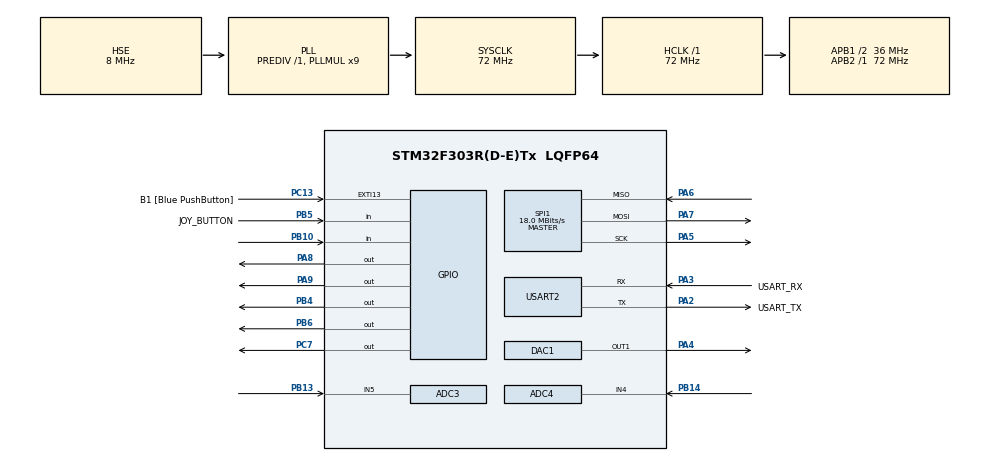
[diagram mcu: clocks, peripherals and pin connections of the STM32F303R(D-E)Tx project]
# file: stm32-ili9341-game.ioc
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ADC3.Channel-3\#ChannelRegularConversion=ADC_CHANNEL_5
ADC3.NbrOfConversionFlag=1
ADC3.Offset-3\#ChannelRegularConversion=0
ADC3.OffsetNumber-3\#ChannelRegularConversion=ADC_OFFSET_NONE
ADC3.Rank-3\#ChannelRegularConversion=1
ADC3.Resolution=ADC_RESOLUTION_6B
ADC3.SamplingTime-3\#ChannelRegularConversion=ADC_SAMPLETIME_1CYCLE_5
ADC3.SamplingTimeOPAMP-3\#ChannelRegularConversion=ADC_SAMPLETIME_61CYCLES_5
ADC3.master=1
ADC4.Channel-1\#ChannelRegularConversion=ADC_CHANNEL_4
ADC4.NbrOfConversionFlag=1
ADC4.Offset-1\#ChannelRegularConversion=0
ADC4.OffsetNumber-1\#ChannelRegularConversion=ADC_OFFSET_NONE
ADC4.Rank-1\#ChannelRegularConversion=1
ADC4.Resolution=ADC_RESOLUTION_6B
ADC4.SamplingTime-1\#ChannelRegularConversion=ADC_SAMPLETIME_1CYCLE_5
ADC4.SamplingTimeOPAMP-1\#ChannelRegularConversion=ADC_SAMPLETIME_61CYCLES_5
DAC1.DAC_OutputBuffer=DAC_OUTPUTBUFFER_ENABLE
DAC1.DAC_Trigger=DAC_TRIGGER_NONE
Dma.DAC1_CH1.1.Direction=DMA_MEMORY_TO_PERIPH
Dma.DAC1_CH1.1.Instance=DMA2_Channel3
Dma.DAC1_CH1.1.MemDataAlignment=DMA_MDATAALIGN_HALFWORD
Dma.DAC1_CH1.1.MemInc=DMA_MINC_ENABLE
Dma.DAC1_CH1.1.Mode=DMA_NORMAL
Dma.DAC1_CH1.1.PeriphDataAlignment=DMA_PDATAALIGN_HALFWORD
Dma.DAC1_CH1.1.PeriphInc=DMA_PINC_DISABLE
Dma.DAC1_CH1.1.Priority=DMA_PRIORITY_HIGH
Dma.Request0=SPI1_TX
Dma.Request1=DAC1_CH1
Dma.SPI1_TX.0.Direction=DMA_MEMORY_TO_PERIPH
Dma.SPI1_TX.0.Instance=DMA1_Channel3
Dma.SPI1_TX.0.MemDataAlignment=DMA_MDATAALIGN_BYTE
Dma.SPI1_TX.0.MemInc=DMA_MINC_ENABLE
Dma.SPI1_TX.0.Mode=DMA_NORMAL
Dma.SPI1_TX.0.PeriphDataAlignment=DMA_PDATAALIGN_BYTE
Dma.SPI1_TX.0.PeriphInc=DMA_PINC_DISABLE
Dma.SPI1_TX.0.Priority=DMA_PRIORITY_LOW
Mcu.Family=STM32F3
Mcu.Name=STM32F303R(D-E)Tx
Mcu.Package=LQFP64
NVIC.DMA1_Channel3_IRQn=true\:1\:0\:true\:false\:true\:false\:true\:true
NVIC.DMA2_Channel3_IRQn=true\:0\:0\:false\:false\:true\:false\:true\:true
NVIC.EXTI15_10_IRQn=true\:1\:1\:true\:false\:true\:true\:true\:true
NVIC.PriorityGroup=NVIC_PRIORITYGROUP_2
NVIC.SPI1_IRQn=true\:1\:1\:true\:false\:true\:true\:true\:true
NVIC.TIM6_DAC_IRQn=true\:3\:0\:true\:false\:true\:true\:true\:true
NVIC.TIM7_IRQn=true\:0\:0\:false\:false\:true\:true\:true\:true
PA13.GPIO_Label=TMS
PA13.Mode=Serial_Wire
PA13.Signal=SYS_JTMS-SWDIO
PA14.GPIO_Label=TCK
PA14.Mode=Serial_Wire
PA14.Signal=SYS_JTCK-SWCLK
PA2.GPIO_Label=USART_TX
PA2.GPIO_Mode=GPIO_MODE_AF_PP
PA2.GPIO_PuPd=GPIO_NOPULL
PA2.GPIO_Speed=GPIO_SPEED_FREQ_LOW
PA2.Mode=Asynchronous
PA2.Signal=USART2_TX
PA3.GPIO_Label=USART_RX
PA3.GPIO_Mode=GPIO_MODE_AF_PP
PA3.GPIO_PuPd=GPIO_NOPULL
PA3.GPIO_Speed=GPIO_SPEED_FREQ_LOW
PA3.Mode=Asynchronous
PA3.Signal=USART2_RX
PA4.Signal=COMP_DAC11_group
PA5.Mode=Full_Duplex_Master
PA5.Signal=SPI1_SCK
PA6.Mode=Full_Duplex_Master
PA6.Signal=SPI1_MISO
PA7.Mode=Full_Duplex_Master
PA7.Signal=SPI1_MOSI
PA8.GPIO_Speed=GPIO_SPEED_FREQ_HIGH
PA8.Signal=GPIO_Output
PA9.GPIO_Speed=GPIO_SPEED_FREQ_HIGH
PA9.Signal=GPIO_Output
PB10.Signal=GPIO_Input
PB13.Mode=IN5-Single-Ended
PB13.Signal=ADC3_IN5
PB14.Mode=IN4-Single-Ended
PB14.Signal=ADC4_IN4
PB3.GPIO_Label=SWO
PB3.Signal=SYS_JTDO-TRACESWO
PB4.Signal=GPIO_Output
PB5.GPIO_Label=JOY_BUTTON
PB5.GPIO_PuPd=GPIO_PULLUP
PB5.Signal=GPIO_Input
PB6.GPIO_Speed=GPIO_SPEED_FREQ_HIGH
PB6.Signal=GPIO_Output
PC13.GPIO_Label=B1 [Blue PushButton]
PC13.GPIO_ModeDefaultEXTI=GPIO_MODE_IT_FALLING
PC13.Signal=GPXTI13
PC14-OSC32_IN.Mode=LSE-External-Oscillator
PC14-OSC32_IN.Signal=RCC_OSC32_IN
PC15-OSC32_OUT.Mode=LSE-External-Oscillator
PC15-OSC32_OUT.Signal=RCC_OSC32_OUT
PC7.GPIO_Speed=GPIO_SPEED_FREQ_HIGH
PC7.Signal=GPIO_Output
PF0-OSC_IN.Mode=HSE-External-Clock-Source
PF0-OSC_IN.Signal=RCC_OSC_IN
PF1-OSC_OUT.Signal=RCC_OSC_OUT
ProjectManager.HeapSize=0x200
ProjectManager.StackSize=0x400
ProjectManager.TargetToolchain=STM32CubeIDE
RCC.AHBFreq_Value=72000000
RCC.APB1CLKDivider=RCC_HCLK_DIV2
RCC.APB1Freq_Value=36000000
RCC.APB1TimFreq_Value=72000000
RCC.APB2Freq_Value=72000000
RCC.APB2TimFreq_Value=72000000
RCC.CortexFreq_Value=72000000
RCC.HCLKFreq_Value=72000000
RCC.HSE_VALUE=8000000
RCC.HSI_VALUE=8000000
RCC.PLLM=8
RCC.PLLMUL=RCC_PLL_MUL9
RCC.PLLN=336
RCC.PLLP=RCC_PLLP_DIV4
RCC.PLLQ=7
RCC.PLLSourceVirtual=RCC_PLLSOURCE_HSE
RCC.RCC_PLLsource_Clock_Source_FROM_HSE=RCC_HSE_PREDIV_DIV2
RCC.SYSCLKFreq_VALUE=72000000
RCC.SYSCLKSourceVirtual=RCC_SYSCLKSOURCE_PLLCLK
RCC.USBFreq_Value=72000000
SH.COMP_DAC11_group.0=DAC1_OUT1,DAC_OUT1
SPI1.BaudRatePrescaler=SPI_BAUDRATEPRESCALER_4
SPI1.CalculateBaudRate=18.0 MBits/s
SPI1.DataSize=SPI_DATASIZE_8BIT
SPI1.Direction=SPI_DIRECTION_2LINES
SPI1.Mode=SPI_MODE_MASTER
SPI1.NSSPMode=SPI_NSS_PULSE_DISABLE
SPI1.VirtualType=VM_MASTER
TIM6.Period=79
TIM6.Prescaler=35999
TIM6.TIM_MasterOutputTrigger=TIM_TRGO_UPDATE
TIM7.Period=124
TIM7.Prescaler=71
TIM7.TIM_MasterOutputTrigger=TIM_TRGO_UPDATE
USART2.VirtualMode-Asynchronous=VM_ASYNC
VP_TIM6_VS_ClockSourceINT.Mode=Enable_Timer
VP_TIM7_VS_ClockSourceINT.Mode=Enable_Timer
board=NUCLEO-F303RE

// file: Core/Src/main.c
/* USER CODE BEGIN Header */
/**
  ******************************************************************************
  * @file           : main.c
  * @brief          : Main program body
  ******************************************************************************
  * @attention
  *
  * Copyright (c) 2025 STMicroelectronics.
  * All rights reserved.
  *
  * This software is licensed under terms that can be found in the LICENSE file
  * in the root directory of this software component.
  * If no LICENSE file comes with this software, it is provided AS-IS.
  *
  ******************************************************************************
  */
/* USER CODE END Header */
#include "main.h"

/* USER CODE BEGIN Includes */

#include <stdlib.h>
#include <stdio.h>
#include <stdarg.h>
#include <string.h>
#include "boing.h"
#include "ili9341_gfx.h"
#include "ili9341.h"

#include "bitmaps.h"
#include "sound.h"

/* USER CODE END Includes */

/* USER CODE BEGIN PD */

#define MAX_OBJECTS 32

/* USER CODE END PD */

ADC_HandleTypeDef hadc3;
ADC_HandleTypeDef hadc4;

DAC_HandleTypeDef hdac1;
DMA_HandleTypeDef hdma_dac1_ch1;

SPI_HandleTypeDef hspi1;
DMA_HandleTypeDef hdma_spi1_tx;

TIM_HandleTypeDef htim6;
TIM_HandleTypeDef htim7;

UART_HandleTypeDef huart2;

/* USER CODE BEGIN PV */
ili9341_t *lcd;
/* USER CODE END PV */

void SystemClock_Config(void);
static void MX_GPIO_Init(void);
static void MX_DMA_Init(void);
static void MX_USART2_UART_Init(void);
static void MX_SPI1_Init(void);
static void MX_TIM6_Init(void);
static void MX_TIM7_Init(void);
static void MX_DAC1_Init(void);
static void MX_ADC3_Init(void);
static void MX_ADC4_Init(void);

/* USER CODE BEGIN 0 */

enum ObjectType {
		typePlayer, typeEnemy, typeCirclingEnemy, typeShootingEnemy,
		typeBullet, typeEnemyBullet, typeHeart, typeParticle, typeTest
};

enum GameState
{
	gsSplashScreen, gsWait, gsPlaying, gsGameOver
};

struct Object {
	int16_t x;
	int16_t y;
	int16_t w;
	int16_t h;
	int16_t old_x;
	int16_t old_y;
	int8_t vx;
	int8_t vy;
	int8_t alive;
	int8_t state;
	enum ObjectType type;
};

enum GameState gameState;

const int8_t enemySpeeds[8] = {
		-2, -1, 0, 0, 1, 2, 0, 0
};

const int8_t enemyCircleSpeeds[25] = {
		0, 0,
		1, 1, 1,
		2, 2, 2,
		3, 3, 3, 3, 3, 3, 3, 3, 3, 3,
		2, 2, 2,
		1, 1, 1,
		0,
};

const int8_t enemyCircleSpeedsY[50] = {
		3, 3, 3, 3, 3,
		2, 2, 2, 2,
		1, 1, 1,
		0, 0,
		-1, -1, -1,
		-2, -2, -2, -2,
		-3, -3, -3, -3, -3, -3, -3, -3, -3,
		-2, -2, -2, -2,
		-1, -1, -1,
		0, 0,
		1, 1, 1,
		2, 2, 2, 2,
		3, 3, 3, 3,
};

uint16_t touch_x = 0;
uint16_t touch_y = 0;
int8_t test_var = 0;
unsigned int score = 0;
unsigned int highscore = 0;
uint16_t difficulty = 0;
uint8_t pause = 0;
uint16_t gameOver = 0;
int8_t score_upd_flag = 0;
int8_t life_upd_flag = 0;

uint32_t nLehmer = 0;

ili9341_color_t color_bg = 0x0000;
ili9341_color_t color_bg_score = 0x0000;

struct Object *player = {0};

int8_t playerLife = 0;
const int8_t playerLifeMax = 3;
int8_t playerInvul = 0;
uint8_t wait = 0;

uint8_t shootingEnemyPresent = 0;

struct Object objects[MAX_OBJECTS] = {0};
int objectCount;

unsigned int frameCounter;

uint32_t joystick[2];

void UART_Printf(const char* fmt, ...);
void HAL_TIM_PeriodElapsedCallback(TIM_HandleTypeDef *htim);
void HAL_GPIO_EXTI_Callback(uint16_t GPIO_Pin);
uint32_t RandLehmer();
struct Object *CreateObject(int16_t x, int16_t y, int16_t w, int16_t h, int8_t vx, int8_t vy, enum ObjectType type);
void DeleteObject(struct Object *obj);
int16_t GetObjectScore(struct Object *obj);
void CreateExplosion(int16_t x, int16_t y);
void ClearObject(struct Object *obj, ili9341_color_t color);
void DrawObject(struct Object *obj);
void DrawScore();
void CheckCollisions(struct Object* obj);
void UpdateEnemy(struct Object* obj);
void UpdateCirclingEnemy(struct Object* obj);
void UpdateShootingEnemy(struct Object* obj);
void UpdateParticle(struct Object* obj);
void SpawnEnemy();
void InitGame();
void RestartGame();
void EndGame();
void UpdateGame();
void DrawButton(uint16_t y, char str[], uint8_t pressed);
uint8_t WaitForButton(uint16_t y);
void SplashScreen();
void DrawHighscore();

void UART_Printf(const char* fmt, ...)
{
    char buff[256];
    va_list args;
    va_start(args, fmt);
    vsnprintf(buff, sizeof(buff), fmt, args);
    HAL_UART_Transmit(&huart2, (uint8_t*)buff, strlen(buff),
                      HAL_MAX_DELAY);
    va_end(args);
}

void HAL_TIM_PeriodElapsedCallback(TIM_HandleTypeDef *htim)
{
	if (htim->Instance == TIM6)
	{
		if (gameState == gsSplashScreen)
		{
			if (WaitForButton(220))
			{
				DrawButton(220, "Play", 1);
				gameState = gsWait;
			}
		}
		else if (gameState == gsWait)
		{
			wait++;
			if (wait >= 5)
			{
				wait = 0;
				InitGame();
				gameState = gsPlaying;
			}
		}
		else if (gameState == gsPlaying)
		{
			UpdateGame();
			if (gameOver >= 75)
			{
				EndGame();
				gameState = gsGameOver;
			}
		}
		else if (gameState == gsGameOver)
		{
			gameOver++;
			if (gameOver >= 750)
			{
				SplashScreen();
				gameState = gsSplashScreen;
			}
			if (WaitForButton(200))
			{
				DrawButton(200, "Play again", 1);
				gameState = gsWait;
			}
		}
		if (__HAL_TIM_GET_FLAG(htim, TIM_FLAG_UPDATE))
		{
			UART_Printf("TIM6 overrun - UpdateGame() too slow!\r\n");
		}
	}
	else if (htim->Instance == TIM7)
	{
		SoundCallback();

		if (__HAL_TIM_GET_FLAG(htim, TIM_FLAG_UPDATE))
		{
			UART_Printf("TIM7 overrun - SoundCallback() too slow!\r\n");
		}
	}
}

void HAL_GPIO_EXTI_Callback(uint16_t GPIO_Pin)
{
	if (GPIO_Pin == GPIO_PIN_13)
	{
		if (gameOver)
			return;
		pause = !pause;
		if (pause)
		{
			HAL_TIM_Base_Stop_IT(&htim6);
			PlaySound(soundPause);
		}
		else
			HAL_TIM_Base_Start_IT(&htim6);

	}
	else
	{
		__NOP();
	}
}

void HAL_DAC_ConvCpltCallbackCh1(DAC_HandleTypeDef* hdac)
{
	HAL_TIM_Base_Stop(&htim7);
}

void HAL_DAC_ErrorCallbackCh1(DAC_HandleTypeDef *hdac)
{
	UART_Printf("DAC error! Error: %d, DAC state: %d\r\n", hdac->ErrorCode, hdac->State);
}

void HAL_DAC_DMAUnderrunCallbackCh1(DAC_HandleTypeDef *hdac)
{
	UART_Printf("DAC underrun! Error: %d, DAC state: %d\r\n", hdac->ErrorCode, hdac->State);
}

uint32_t RandLehmer()
{
	const uint32_t A = 48271;

	uint32_t low  = (nLehmer & 0x7fff) * A;
	uint32_t high = (nLehmer >> 15)    * A;
	uint32_t x = low + ((high & 0xffff) << 15) + (high >> 16);

	x = (x & 0x7fffffff) + (x >> 31);
	return nLehmer = x;
}

struct Object *CreateObject(int16_t x, int16_t y, int16_t w, int16_t h, int8_t vx, int8_t vy, enum ObjectType type)
{
	struct Object* obj = NULL;
	for (int i = 0; i < MAX_OBJECTS; i++)
	{
		if (!objects[i].alive)
		{
			obj = &objects[i];
			break;
		}
	}

	if (obj == NULL)
		return NULL;

	obj->alive = 1;
	obj->x = x;
	obj->y = y;
	obj->w = w;
	obj->h = h;
	obj->vy = vy;
	obj->vx = vx;
	obj->old_x = x;
	obj->old_y = y;
	obj->type = type;
	obj->state = 0;

	if (type == typeParticle)
	{
		obj->state = 8;
	}

	objectCount++;

	return obj;
}

void DeleteObject(struct Object *obj)
{
	ClearObject(obj, color_bg);

	int16_t  _x = obj->x, _y = obj->y;
	uint16_t _w = obj->w, _h = obj->h;
	if (ili9341_my_clip_rect(lcd, &_x, &_y, &_w, &_h) == ibTrue)
	{
		ili9341_fill_rect(lcd, color_bg, _x, _y, _w, _h);
	}

	if (obj->type == typeShootingEnemy)
		shootingEnemyPresent = 0;
	obj->alive = 0;
	objectCount--;
}

int16_t GetObjectScore(struct Object *obj)
{
	switch (obj->type)
	{
	case typeEnemy:
		return 100;
	case typeCirclingEnemy:
		return 150;
	case typeShootingEnemy:
		return 300;
	default:
		return 0;
	}
}

void CreateExplosion(int16_t x, int16_t y)
{
	CreateObject(x, y, 4, 4, 4, 4, typeParticle);
	CreateObject(x, y, 4, 4, -4, 4, typeParticle);
	CreateObject(x, y, 4, 4, -4, -4, typeParticle);
	CreateObject(x, y, 4, 4, 4, -4, typeParticle);
	CreateObject(x, y, 4, 4, 0, 5, typeParticle);
	CreateObject(x, y, 4, 4, 0, -5, typeParticle);
}

void ClearObject(struct Object *obj, ili9341_color_t color)
{
	int16_t regX, regW, regY, regH;
	int8_t skipX = 0;

	if (obj->x < obj->old_x)
	{
	    regX = obj->x + obj->w;
	    regW = obj->old_x - obj->x;
	}
	else if (obj->x > obj->old_x)
	{
	    regX = obj->old_x;
	    regW = obj->x - obj->old_x;
	}
	else
	    skipX = 1;

	if (regW > obj->w)
	{
	    regX = obj->old_x;
	    regW = obj->w;
	}

	int8_t skipY = 0;

	if (obj->y < obj->old_y)
	{
	    regY = obj->y + obj->h;
	    regH = obj->old_y - obj->y;
	}
	else if (obj->y > obj->old_y)
	{
	    regY = obj->old_y;
	    regH = obj->y - obj->old_y;
	}
	else
	    skipY = 1;

	if (regH > obj->h)
	{
	    regY = obj->old_y;
	    regH = obj->h;
	}

	if ((!skipX))
		ili9341_fill_rect(lcd, color, regX, (obj->y < 20 ? 20 : obj->y), regW, obj->h);
	if ((!skipY))
		ili9341_fill_rect(lcd, color, skipX ? obj->x : obj->old_x, (regY < 20 ? 20 : regY), obj->w, regH);
}

void DrawObject(struct Object *obj)
{
	switch (obj->type)
	{
	case typePlayer:

		if (playerLife <= 0)
		{
			return;
		}

		const uint8_t *bmp;
		switch (obj->state) {
		case 1:
			bmp = bitmap_ship_left;
			break;
		case 2:
			bmp = bitmap_ship_right;
			break;
		default:
			bmp = bitmap_ship_idle;
			break;
		}
		if ((playerInvul & 0x01)) {
			ili9341_my_draw_bmp_2b(lcd, ILI9341_RED, color_bg, ILI9341_RED, ILI9341_BLACK,
					obj->x, obj->y, obj->w, obj->h, bmp, 0);
		}
		else {
			ili9341_my_draw_bmp_2b(lcd, ILI9341_WHITE, color_bg, ILI9341_LIGHTGREY, ILI9341_DARKGREY,
								obj->x, obj->y, obj->w, obj->h, bmp, 0);
		}
		break;
	case typeEnemy:
		ili9341_my_draw_bmp_2b(lcd, ILI9341_MAGENTA, color_bg, ILI9341_DARKGREY, ILI9341_DARKGREY, obj->x, obj->y, obj->w, obj->h, bitmap_enemy, 0);
		break;
	case typeCirclingEnemy:
		ili9341_my_draw_bmp_2b(lcd, ILI9341_ORANGE, color_bg, ILI9341_DARKGREY, ILI9341_DARKGREY, obj->x, obj->y, obj->w, obj->h, bitmap_enemy_circle, 0);
		break;
	case typeShootingEnemy:
		ili9341_my_draw_bmp_2b(lcd, ILI9341_RED, color_bg, ILI9341_DARKGREY, ILI9341_DARKGREY, obj->x, obj->y, obj->w, obj->h, bitmap_enemy_fire, 0);
		break;
	case typeTest:
		ili9341_my_draw_bmp_2b(lcd, ILI9341_WHITE, color_bg, ILI9341_YELLOW, ILI9341_BLACK, obj->x, obj->y, obj->w, obj->h, bitmap_smile, 0);
		break;
	case typeHeart:
		ili9341_my_draw_bmp_2b(lcd, ILI9341_RED, color_bg, ILI9341_WHITE, ILI9341_WHITE, obj->x, obj->y, obj->w, obj->h, bitmap_heart, 0);
		break;
	case typeBullet:
		ili9341_my_draw_bmp_2b(lcd, ILI9341_BLUE, color_bg, ILI9341_CYAN, ILI9341_CYAN, obj->x, obj->y, obj->w, obj->h, bitmap_bullet, 0);
		break;
	case typeEnemyBullet:
		ili9341_my_draw_bmp_2b(lcd, ILI9341_RED, color_bg, ILI9341_PINK, ILI9341_PINK, obj->x, obj->y, obj->w, obj->h, bitmap_bullet, 0);
		break;
	case typeParticle:
		ili9341_my_draw_bmp_2b(lcd, ILI9341_YELLOW, color_bg, ILI9341_WHITE, ILI9341_WHITE, obj->x, obj->y, obj->w, obj->h, bitmap_particle, 0);
		break;
	default:
		ili9341_fill_rect(lcd, ILI9341_YELLOW, obj->x, obj->y, obj->w, obj->h);
		break;

	}
}

void DrawScore()
{
	if (score_upd_flag)
	{
		ili9341_text_attr_t text_attr = {0};
		text_attr.bg_color = color_bg_score;
		text_attr.fg_color = score_upd_flag == 2 ? ILI9341_YELLOW : ILI9341_WHITE;
		text_attr.font = &ili9341_font_11x18;
		text_attr.origin_y = 1;
		text_attr.origin_x = 4;

		char str[20] = {0};
		sprintf(str, "score: %07u", score);
		ili9341_draw_string(lcd, text_attr, str);
		score_upd_flag--;
	}

	if (life_upd_flag)
	{
		for (int8_t i = 0; i < playerLifeMax; i++)
		{
			ili9341_my_draw_bmp_2b(lcd, (playerLife < (i+1)) ? (life_upd_flag == 2 ? ILI9341_YELLOW : ILI9341_BLACK) : ILI9341_RED, color_bg_score, ILI9341_WHITE, ILI9341_WHITE,
					lcd->screen_size.width - 4 - (i+1)*16, 2, 16, 16, bitmap_heart, 1);
		}
		life_upd_flag--;
	}
}

void CheckCollisions(struct Object* obj)
{
	for (int i = 0; i < MAX_OBJECTS; i++)
	{
		struct Object *obj2 = &objects[i];
		if (!obj2->alive) continue;
		if (obj2->type == typeBullet ||
				obj2->type == typePlayer || obj2->type == typeParticle) continue;
		if (!(obj2->x > obj->x + obj->w ||
				obj2->x + obj2->w < obj->x ||
				obj2->y > obj->y + obj->h ||
				obj2->y + obj2->h < obj->y))
		{
			if (obj->type == typeBullet)
			{
				if (obj2->type == typeEnemyBullet)
					continue;

				CreateExplosion(obj->x, obj->y);
				score += GetObjectScore(obj2);
				DeleteObject(obj2);
				DeleteObject(obj);
				score_upd_flag = 2;
				PlaySound(soundExplosion);
			}
			else if (obj->type == typePlayer && playerLife > 0)
			{
				if (obj2->type == typeEnemyBullet)
					DeleteObject(obj2);

				if (obj2->type == typeHeart)
				{
					playerLife++;
					DeleteObject(obj2);
					if (playerLife > playerLifeMax)
						playerLife = playerLifeMax;
					life_upd_flag = 2;
					PlaySound(soundPickup);
					break;
				}

				playerLife--;
				if (playerLife < 1)
				{
					playerLife = 0;
					CreateExplosion(obj->x + obj->w / 2, obj->y + obj->h);
					CreateExplosion(obj->x, obj->y);
					PlaySound(soundPlayerExplosion);
					DeleteObject(player);
				}
				else
				{
					playerInvul = 24;
					PlaySound(soundDamage);
				}
				life_upd_flag = 2;
			}

			break;
		}
	}
}

void UpdateEnemy(struct Object* obj)
{
	  obj->vx = enemySpeeds[((frameCounter) / 10) % 8];
}

void UpdateCirclingEnemy(struct Object* obj)
{
	  int32_t time = frameCounter / 2;

	  if (obj->state == 0)
	  {
		  if (obj->y >= 50)
			  obj->state = 1;
		  return;
	  }

	  if (obj->x > 110)
	  {
		  time -= 25;
	  }

	  if (time % 50 < 25)
		  obj->vx = -enemyCircleSpeeds[time % 25];
	  else
		  obj->vx = enemyCircleSpeeds[time % 25];

	  if (obj->x > 110)
		  obj->vx = -obj->vx;

	  obj->vy = enemyCircleSpeedsY[time % 50] + 1;
}

void UpdateShootingEnemy(struct Object* obj)
{
	if (playerLife <= 0)
	{
		obj->vy = 3;
		return;
	}

	  if (obj->state == 0)
	  {
		  int16_t minY = player->y - 180;
		  if (obj->y > (minY < 60 ? 60 : minY))
		  {
			  obj->vy = 0;
		  	  obj->state = 1;
		  }
	  }

	  else if (obj->state == 1)
	  {
		  if (obj->x < player->x - 3)
		  {
			  obj->vx = 3;
		  }
		  else if (obj-> x >= player->x + player->w + 3 - obj->w)
		  {
			  obj->vx = -3;
		  }
		  else
		  {
			  obj->vx = 0;
			  obj->state = 2;
		  }
	  }
	  else if (obj->state == 2)
	  {
		  if (frameCounter % 43 == 0) {
			  CreateObject(obj->x + (obj->w / 2) - 2, obj->y + obj->h + 8, 4, 8, 0, 6, typeEnemyBullet);
			  obj->state = 1;
		  }
	  }
}

void UpdateParticle(struct Object* obj)
{
	  obj->state--;
	  if (obj->state <= 0)
		  DeleteObject(obj);
}

void SpawnEnemy()
{
	static uint8_t side = 0;

	if (difficulty > 15 && difficulty % 25 == 0)
	{
		if (shootingEnemyPresent == 0)
		{
			CreateObject(RandLehmer() % 216, 0, 20, 16, 0, 3, typeShootingEnemy);
		}
		shootingEnemyPresent = 1;
	}
	else if (difficulty > 5 && difficulty % 3 == 0)
	{
		if (side == 0)
			CreateObject(25, 10, 20, 16, 0, 3, typeCirclingEnemy);
		else
			CreateObject(205, 10, 20, 16, 0, 3, typeCirclingEnemy);
		side = !side;
	}
	else
		CreateObject(RandLehmer() % 216, 0, 20, 16, 0, 3, typeEnemy);
}

unsigned int DifficultyToTiming(uint16_t d)
{
	if (d > 30)
		return 15;
	if (d > 15)
		return 25;
	else
		return 50;
}

void InitGame()
{
	UART_Printf("Game initialized!\r\n");

	// Мигнути два рази
	HAL_GPIO_WritePin(GPIOB, GPIO_PIN_4, GPIO_PIN_SET);
	HAL_Delay(25);
	HAL_GPIO_WritePin(GPIOB, GPIO_PIN_4, GPIO_PIN_RESET);
	HAL_Delay(25);
	HAL_GPIO_WritePin(GPIOB, GPIO_PIN_4, GPIO_PIN_SET);
	HAL_Delay(25);
	HAL_GPIO_WritePin(GPIOB, GPIO_PIN_4, GPIO_PIN_RESET);

	score = 0;
	difficulty = 0;
	gameOver = 0;
	frameCounter = 0;
	objectCount = 0;
	nLehmer = 21-3;
	player = CreateObject(96, 280, 48, 24, 0, 0, typePlayer);
	playerLife = playerLifeMax;

	ili9341_fill_screen(lcd, color_bg);
	ili9341_fill_rect(lcd, color_bg_score, 0, 0, lcd->screen_size.width, 20);
	ili9341_draw_line(lcd, ILI9341_WHITE, 0, 19, lcd->screen_size.width, 19);

	score_upd_flag = 1;
	life_upd_flag = 1;

	HAL_Delay(100);

	PlaySound(soundGameStart);
}

void RestartGame()
{
	UART_Printf("Restarting game...\r\n");
	InitGame();
	HAL_TIM_Base_Start_IT(&htim6);

}

void EndGame()
{
	UART_Printf("Game over! Score: %07u\r\n", score);

	uint8_t newHigh = 0;
	if (score > highscore)
	{
		newHigh = 1;
		highscore = score;
	}

	for (int i = 0; i < MAX_OBJECTS; i++)
		if (objects[i].alive)
			DeleteObject(&objects[i]);

	ili9341_fill_screen(lcd, ILI9341_BLACK);

	ili9341_text_attr_t text_attr = {0};
	text_attr.bg_color = color_bg_score;
	text_attr.fg_color = newHigh ? ILI9341_YELLOW : ILI9341_WHITE;
	text_attr.font = /* newHigh ? &ili9341_font_11x18 : */ &ili9341_font_16x26;
	text_attr.origin_y = 120;
	text_attr.origin_x = newHigh ? 8 : 40;

	char str[20] = {0};
	ili9341_draw_string(lcd, text_attr, newHigh ? "NEW HIGHSCORE!" : "GAME OVER!");

	text_attr.fg_color = ILI9341_WHITE;
	text_attr.font = &ili9341_font_11x18;
	text_attr.origin_y = 150;
	text_attr.origin_x = 43;
	sprintf(str, "score: %07u", score);
	ili9341_draw_string(lcd, text_attr, str);

	DrawButton(200, "Play again", 0);

	if (newHigh == 0)
	{
		DrawHighscore();
	}

	if (newHigh == 0)
	{
		PlaySound(soundGameEnd);
	}
	else
	{
		PlaySound(soundPickup);
	}

}

void UpdateGame()
{
	HAL_ADC_Start(&hadc3);
	HAL_ADC_PollForConversion(&hadc3, 10);
	joystick[0] = HAL_ADC_GetValue(&hadc3);
	HAL_ADC_Stop(&hadc3);

	HAL_ADC_Start(&hadc4);
	HAL_ADC_PollForConversion(&hadc4, 10);
	joystick[1] = HAL_ADC_GetValue(&hadc4);
	HAL_ADC_Stop(&hadc4);

	int16_t spd_joy_y = joystick[1];
	int16_t spd_joy_x = joystick[0];

	spd_joy_x -= 32;
	spd_joy_y -= 32;
	spd_joy_x /= 10;
	spd_joy_y /= 10;

	ili9341_touch_pressed_t touchPressed = ili9341_touch_coordinate(lcd, &touch_x, &touch_y);

	// Обробка введення та швидкості гравця
	if (playerLife > 0 && ((touchPressed == itpPressed) || spd_joy_x != 0 || spd_joy_y != 0))
	{
		int16_t spd_x;
		int16_t spd_y;
		if (touchPressed == itpPressed)
		{
			touch_y = 320 - touch_y;
			touch_x -= 48;
			touch_x -= 12;

			spd_x = touch_x - player->x;
			spd_y = touch_y - player->y;

			spd_x /= (1 + abs(spd_x) / 4);
			spd_y /= (1 + abs(spd_y) / 4);
		}
		else
		{
			spd_x = spd_joy_x;
			spd_y = spd_joy_y;
		}

	  player->vx = spd_x;
	  player->vy = spd_y;

	  if (spd_x > 0) player->state = 2;
	  else if (spd_x < 0) player->state = 1;

	  // Стрільба
	  if (frameCounter % 13 == 0 && !playerInvul)
	  {
		  CreateObject(player->x + (player->w / 2) - 2, player->y - 8, 4, 8, 0, -8, typeBullet);
		  PlaySound(soundShot);
	  }

	}
	else
	{
	  player->state = 0;
	  player->vx = 0;
	  player->vy = 0;
	}

	// Оновлення об'єктів
	for (int i = 0; i < MAX_OBJECTS; i++)
	{
	  struct Object *obj = &objects[i];

	  if (!obj->alive)
		  continue;

	  if ((obj->y >= 320 || obj->y < 0) && obj->type != typePlayer)
	  {
		  DeleteObject(obj);
		  continue;
	  }

	  // Оновлення ворогів
	  if (obj->type == typeEnemy)
		  UpdateEnemy(obj);

	  if (obj->type == typeCirclingEnemy)
		  UpdateCirclingEnemy(obj);

	  if (obj->type == typeShootingEnemy)
		  UpdateShootingEnemy(obj);

	  // Оновлення положень об'єкітв
	  obj->old_x = obj->x;
	  obj->old_y = obj->y;

	  obj->y += obj->vy;
	  obj->x += obj->vx;

	  // Оновлення частинок
	  if (obj->type == typeParticle)
		  UpdateParticle(obj);
	}

	// Створення об'єктів
	if (frameCounter > 15 && frameCounter % DifficultyToTiming(difficulty) == 0)
	{
		SpawnEnemy();
		difficulty++;

		if (difficulty > 16000)
			difficulty = 16000;
	}

	if (playerLife < playerLifeMax && frameCounter % 1600 == 0)
	{
		CreateObject(RandLehmer() % 216, 0, 16, 16, 0, 2, typeHeart);
	}

	if (player->y > lcd->screen_size.height - player->h)
		player->y = lcd->screen_size.height - player->h;

	if (player->y < 21)
		player->y = 21;

	for (int i = 0; i < MAX_OBJECTS; i++)
	{
	  struct Object *obj = &objects[i];

	  if (!obj->alive)
		  continue;

	  if (obj->x < 0)
		  obj->x = 0;
	  if (obj->x >= lcd->screen_size.width - obj->w)
		  obj->x = lcd->screen_size.width - obj->w - 1;

	  // Перевірка зіткнень
	  if (obj->type == typeBullet || (obj->type == typePlayer && !playerInvul))
		  CheckCollisions(obj);

	  // Вибіркове очищення
	  ClearObject(obj, color_bg);
	}

	// Виведення об'єктів на дисплей
	for (int i = 0; i < MAX_OBJECTS; i++)
	{
	  struct Object *obj = &objects[i];

	  if (obj->alive)
		  DrawObject(obj);
	}

	if (score_upd_flag || life_upd_flag)
	{
	  DrawScore();
	}

	// Оновлення змінних
	if (playerInvul > 0)
	  playerInvul--;

	if (playerLife <= 0)
	{
		gameOver++;
		if(gameOver >= 75)
		{
			gameOver = 75;
		}

	}

	frameCounter++;
}

void DrawButton(uint16_t y, char str[], uint8_t pressed)
{
	ili9341_text_attr_t text_attr = {0};
	text_attr.bg_color = pressed ? ILI9341_GREEN : color_bg_score;
	text_attr.fg_color = ILI9341_WHITE;
	text_attr.font = &ili9341_font_11x18;
	text_attr.origin_y = y + 10;
	text_attr.origin_x = 120 - (strlen(str) * 11) / 2;

	if (pressed)
	{
		ili9341_fill_rect(lcd, ILI9341_GREEN, 55, y, 130, 38);
	}

	ili9341_draw_rect(lcd, ILI9341_WHITE, 55, y, 130, 38);
	ili9341_draw_string(lcd, text_attr, str);
}

uint8_t WaitForButton(uint16_t y)
{
	GPIO_PinState joyButtonState = HAL_GPIO_ReadPin(JOY_BUTTON_GPIO_Port, JOY_BUTTON_Pin);
	if ((ili9341_touch_coordinate(lcd, &touch_x, &touch_y) == itpPressed)
			|| (joyButtonState == GPIO_PIN_RESET))
	{
		touch_y = 320 - touch_y;
		touch_x -= 48;
		if ((touch_x > 55 && touch_x < 185 && touch_y > y && touch_y < y + 38)
				|| (joyButtonState == GPIO_PIN_RESET))
		{
			return 1;
		}
	}

	return 0;
}

void DrawHighscore()
{
	char str[20] = {0};

	ili9341_text_attr_t text_attr = {0};
	text_attr.bg_color = color_bg_score;
	text_attr.fg_color = ILI9341_DARKGREY;
	text_attr.font = &ili9341_font_11x18;
	sprintf(str, "highscore: %07u", highscore);
	text_attr.origin_y = 290;
	text_attr.origin_x = 120 - (strlen(str) * 11) / 2;
	ili9341_draw_string(lcd, text_attr, str);
}

void SplashScreen()
{
	ili9341_fill_screen(lcd, ILI9341_BLACK);

		ili9341_text_attr_t text_attr = {0};
		text_attr.bg_color = color_bg_score;
		text_attr.fg_color = ILI9341_WHITE;
		text_attr.font = &ili9341_font_11x18;
		text_attr.origin_y = 54;
		text_attr.origin_x = 15;
		ili9341_draw_string(lcd, text_attr, "STM32 SPACE SHOOTER");

		ili9341_my_draw_bmp_2b(lcd, ILI9341_WHITE, color_bg, ILI9341_LIGHTGREY, ILI9341_DARKGREY,
							56, 108, 128, 80, bitmap_logo, 0);

		DrawButton(220, "Play", 0);

		if (highscore != 0)
		{
			DrawHighscore();
		}

}

/* USER CODE END 0 */

int main(void)
{

  /* MCU Configuration--------------------------------------------------------*/

  /* Reset of all peripherals, Initializes the Flash interface and the Systick. */
  HAL_Init();

  /* Configure the system clock */
  SystemClock_Config();

  /* Initialize all configured peripherals */
  MX_GPIO_Init();
  MX_DMA_Init();
  MX_USART2_UART_Init();
  MX_SPI1_Init();
  MX_TIM6_Init();
  MX_TIM7_Init();
  MX_DAC1_Init();
  MX_ADC3_Init();
  MX_ADC4_Init();
  /* USER CODE BEGIN 2 */

  lcd = ili9341_new(
      &hspi1,
      GPIOA, GPIO_PIN_9,
      GPIOB, GPIO_PIN_6,
	  GPIOC, GPIO_PIN_7,
      isoPortrait,
      GPIOA,  GPIO_PIN_8,
	  GPIOB, GPIO_PIN_10,
      itsSupported,
      itnNormalized);

  ili9341_calibrate_scalar(lcd, 400, 409, 3875, 3763);

  InitSound(&hdac1, DAC_CHANNEL_1, &htim7);

  __HAL_TIM_CLEAR_FLAG(&htim6, TIM_SR_UIF);
  __HAL_TIM_CLEAR_FLAG(&htim7, TIM_SR_UIF);

  	gameState = gsSplashScreen;

	SplashScreen();

	//InitGame();
	HAL_TIM_Base_Start_IT(&htim6);

  /* USER CODE END 2 */

  /* Infinite loop */
  while (1)
  {

  }
}

void SystemClock_Config(void)
{
  RCC_OscInitTypeDef RCC_OscInitStruct = {0};
  RCC_ClkInitTypeDef RCC_ClkInitStruct = {0};
  RCC_PeriphCLKInitTypeDef PeriphClkInit = {0};

  /** Initializes the RCC Oscillators according to the specified parameters
  * in the RCC_OscInitTypeDef structure.
  */
  RCC_OscInitStruct.OscillatorType = RCC_OSCILLATORTYPE_HSE;
  RCC_OscInitStruct.HSEState = RCC_HSE_BYPASS;
  RCC_OscInitStruct.HSIState = RCC_HSI_ON;
  RCC_OscInitStruct.PLL.PLLState = RCC_PLL_ON;
  RCC_OscInitStruct.PLL.PLLSource = RCC_PLLSOURCE_HSE;
  RCC_OscInitStruct.PLL.PLLMUL = RCC_PLL_MUL9;
  RCC_OscInitStruct.PLL.PREDIV = RCC_PREDIV_DIV1;
  if (HAL_RCC_OscConfig(&RCC_OscInitStruct) != HAL_OK)
  {
    Error_Handler();
  }

  /** Initializes the CPU, AHB and APB buses clocks
  */
  RCC_ClkInitStruct.ClockType = RCC_CLOCKTYPE_HCLK|RCC_CLOCKTYPE_SYSCLK
                              |RCC_CLOCKTYPE_PCLK1|RCC_CLOCKTYPE_PCLK2;
  RCC_ClkInitStruct.SYSCLKSource = RCC_SYSCLKSOURCE_PLLCLK;
  RCC_ClkInitStruct.AHBCLKDivider = RCC_SYSCLK_DIV1;
  RCC_ClkInitStruct.APB1CLKDivider = RCC_HCLK_DIV2;
  RCC_ClkInitStruct.APB2CLKDivider = RCC_HCLK_DIV1;

  if (HAL_RCC_ClockConfig(&RCC_ClkInitStruct, FLASH_LATENCY_2) != HAL_OK)
  {
    Error_Handler();
  }
  PeriphClkInit.PeriphClockSelection = RCC_PERIPHCLK_USART2|RCC_PERIPHCLK_ADC34;
  PeriphClkInit.Usart2ClockSelection = RCC_USART2CLKSOURCE_PCLK1;
  PeriphClkInit.Adc34ClockSelection = RCC_ADC34PLLCLK_DIV1;
  if (HAL_RCCEx_PeriphCLKConfig(&PeriphClkInit) != HAL_OK)
  {
    Error_Handler();
  }
}

static void MX_ADC3_Init(void)
{

  ADC_MultiModeTypeDef multimode = {0};
  ADC_ChannelConfTypeDef sConfig = {0};

  /** Common config
  */
  hadc3.Instance = ADC3;
  hadc3.Init.ClockPrescaler = ADC_CLOCK_ASYNC_DIV1;
  hadc3.Init.Resolution = ADC_RESOLUTION_6B;
  hadc3.Init.ScanConvMode = ADC_SCAN_DISABLE;
  hadc3.Init.ContinuousConvMode = DISABLE;
  hadc3.Init.DiscontinuousConvMode = DISABLE;
  hadc3.Init.ExternalTrigConvEdge = ADC_EXTERNALTRIGCONVEDGE_NONE;
  hadc3.Init.ExternalTrigConv = ADC_SOFTWARE_START;
  hadc3.Init.DataAlign = ADC_DATAALIGN_RIGHT;
  hadc3.Init.NbrOfConversion = 1;
  hadc3.Init.DMAContinuousRequests = DISABLE;
  hadc3.Init.EOCSelection = ADC_EOC_SINGLE_CONV;
  hadc3.Init.LowPowerAutoWait = DISABLE;
  hadc3.Init.Overrun = ADC_OVR_DATA_OVERWRITTEN;
  if (HAL_ADC_Init(&hadc3) != HAL_OK)
  {
    Error_Handler();
  }

  /** Configure the ADC multi-mode
  */
  multimode.Mode = ADC_MODE_INDEPENDENT;
  if (HAL_ADCEx_MultiModeConfigChannel(&hadc3, &multimode) != HAL_OK)
  {
    Error_Handler();
  }

  /** Configure Regular Channel
  */
  sConfig.Channel = ADC_CHANNEL_5;
  sConfig.Rank = ADC_REGULAR_RANK_1;
  sConfig.SingleDiff = ADC_SINGLE_ENDED;
  sConfig.SamplingTime = ADC_SAMPLETIME_1CYCLE_5;
  sConfig.OffsetNumber = ADC_OFFSET_NONE;
  sConfig.Offset = 0;
  if (HAL_ADC_ConfigChannel(&hadc3, &sConfig) != HAL_OK)
  {
    Error_Handler();
  }

}

static void MX_ADC4_Init(void)
{

  ADC_ChannelConfTypeDef sConfig = {0};

  /** Common config
  */
  hadc4.Instance = ADC4;
  hadc4.Init.ClockPrescaler = ADC_CLOCK_ASYNC_DIV1;
  hadc4.Init.Resolution = ADC_RESOLUTION_6B;
  hadc4.Init.ScanConvMode = ADC_SCAN_DISABLE;
  hadc4.Init.ContinuousConvMode = DISABLE;
  hadc4.Init.DiscontinuousConvMode = DISABLE;
  hadc4.Init.ExternalTrigConvEdge = ADC_EXTERNALTRIGCONVEDGE_NONE;
  hadc4.Init.ExternalTrigConv = ADC_SOFTWARE_START;
  hadc4.Init.DataAlign = ADC_DATAALIGN_RIGHT;
  hadc4.Init.NbrOfConversion = 1;
  hadc4.Init.DMAContinuousRequests = DISABLE;
  hadc4.Init.EOCSelection = ADC_EOC_SINGLE_CONV;
  hadc4.Init.LowPowerAutoWait = DISABLE;
  hadc4.Init.Overrun = ADC_OVR_DATA_OVERWRITTEN;
  if (HAL_ADC_Init(&hadc4) != HAL_OK)
  {
    Error_Handler();
  }

  /** Configure Regular Channel
  */
  sConfig.Channel = ADC_CHANNEL_4;
  sConfig.Rank = ADC_REGULAR_RANK_1;
  sConfig.SingleDiff = ADC_SINGLE_ENDED;
  sConfig.SamplingTime = ADC_SAMPLETIME_1CYCLE_5;
  sConfig.OffsetNumber = ADC_OFFSET_NONE;
  sConfig.Offset = 0;
  if (HAL_ADC_ConfigChannel(&hadc4, &sConfig) != HAL_OK)
  {
    Error_Handler();
  }

}

static void MX_DAC1_Init(void)
{

  DAC_ChannelConfTypeDef sConfig = {0};

  /** DAC Initialization
  */
  hdac1.Instance = DAC1;
  if (HAL_DAC_Init(&hdac1) != HAL_OK)
  {
    Error_Handler();
  }

  /** DAC channel OUT1 config
  */
  sConfig.DAC_Trigger = DAC_TRIGGER_NONE;
  sConfig.DAC_OutputBuffer = DAC_OUTPUTBUFFER_ENABLE;
  if (HAL_DAC_ConfigChannel(&hdac1, &sConfig, DAC_CHANNEL_1) != HAL_OK)
  {
    Error_Handler();
  }

}

static void MX_SPI1_Init(void)
{

  /* SPI1 parameter configuration*/
  hspi1.Instance = SPI1;
  hspi1.Init.Mode = SPI_MODE_MASTER;
  hspi1.Init.Direction = SPI_DIRECTION_2LINES;
  hspi1.Init.DataSize = SPI_DATASIZE_8BIT;
  hspi1.Init.CLKPolarity = SPI_POLARITY_LOW;
  hspi1.Init.CLKPhase = SPI_PHASE_1EDGE;
  hspi1.Init.NSS = SPI_NSS_SOFT;
  hspi1.Init.BaudRatePrescaler = SPI_BAUDRATEPRESCALER_4;
  hspi1.Init.FirstBit = SPI_FIRSTBIT_MSB;
  hspi1.Init.TIMode = SPI_TIMODE_DISABLE;
  hspi1.Init.CRCCalculation = SPI_CRCCALCULATION_DISABLE;
  hspi1.Init.CRCPolynomial = 7;
  hspi1.Init.CRCLength = SPI_CRC_LENGTH_DATASIZE;
  hspi1.Init.NSSPMode = SPI_NSS_PULSE_DISABLE;
  if (HAL_SPI_Init(&hspi1) != HAL_OK)
  {
    Error_Handler();
  }

}

static void MX_TIM6_Init(void)
{

  TIM_MasterConfigTypeDef sMasterConfig = {0};

  htim6.Instance = TIM6;
  htim6.Init.Prescaler = 35999;
  htim6.Init.CounterMode = TIM_COUNTERMODE_UP;
  htim6.Init.Period = 79;
  htim6.Init.AutoReloadPreload = TIM_AUTORELOAD_PRELOAD_DISABLE;
  if (HAL_TIM_Base_Init(&htim6) != HAL_OK)
  {
    Error_Handler();
  }
  sMasterConfig.MasterOutputTrigger = TIM_TRGO_UPDATE;
  sMasterConfig.MasterSlaveMode = TIM_MASTERSLAVEMODE_DISABLE;
  if (HAL_TIMEx_MasterConfigSynchronization(&htim6, &sMasterConfig) != HAL_OK)
  {
    Error_Handler();
  }

}

static void MX_TIM7_Init(void)
{

  TIM_MasterConfigTypeDef sMasterConfig = {0};

  htim7.Instance = TIM7;
  htim7.Init.Prescaler = 71;
  htim7.Init.CounterMode = TIM_COUNTERMODE_UP;
  htim7.Init.Period = 124;
  htim7.Init.AutoReloadPreload = TIM_AUTORELOAD_PRELOAD_DISABLE;
  if (HAL_TIM_Base_Init(&htim7) != HAL_OK)
  {
    Error_Handler();
  }
  sMasterConfig.MasterOutputTrigger = TIM_TRGO_UPDATE;
  sMasterConfig.MasterSlaveMode = TIM_MASTERSLAVEMODE_DISABLE;
  if (HAL_TIMEx_MasterConfigSynchronization(&htim7, &sMasterConfig) != HAL_OK)
  {
    Error_Handler();
  }

}

static void MX_USART2_UART_Init(void)
{

  huart2.Instance = USART2;
  huart2.Init.BaudRate = 38400;
  huart2.Init.WordLength = UART_WORDLENGTH_8B;
  huart2.Init.StopBits = UART_STOPBITS_1;
  huart2.Init.Parity = UART_PARITY_NONE;
  huart2.Init.Mode = UART_MODE_TX_RX;
  huart2.Init.HwFlowCtl = UART_HWCONTROL_NONE;
  huart2.Init.OverSampling = UART_OVERSAMPLING_16;
  huart2.Init.OneBitSampling = UART_ONE_BIT_SAMPLE_DISABLE;
  huart2.AdvancedInit.AdvFeatureInit = UART_ADVFEATURE_NO_INIT;
  if (HAL_UART_Init(&huart2) != HAL_OK)
  {
    Error_Handler();
  }

}

static void MX_DMA_Init(void)
{

  /* DMA controller clock enable */
  __HAL_RCC_DMA1_CLK_ENABLE();
  __HAL_RCC_DMA2_CLK_ENABLE();

  /* DMA interrupt init */
  /* DMA1_Channel3_IRQn interrupt configuration */
  HAL_NVIC_SetPriority(DMA1_Channel3_IRQn, 1, 0);
  HAL_NVIC_EnableIRQ(DMA1_Channel3_IRQn);
  /* DMA2_Channel3_IRQn interrupt configuration */
  HAL_NVIC_SetPriority(DMA2_Channel3_IRQn, 0, 0);
  HAL_NVIC_EnableIRQ(DMA2_Channel3_IRQn);

}

static void MX_GPIO_Init(void)
{
  GPIO_InitTypeDef GPIO_InitStruct = {0};

  /* GPIO Ports Clock Enable */
  __HAL_RCC_GPIOC_CLK_ENABLE();
  __HAL_RCC_GPIOF_CLK_ENABLE();
  __HAL_RCC_GPIOA_CLK_ENABLE();
  __HAL_RCC_GPIOB_CLK_ENABLE();

  /*Configure GPIO pin Output Level */
  HAL_GPIO_WritePin(GPIOC, GPIO_PIN_7, GPIO_PIN_RESET);

  /*Configure GPIO pin Output Level */
  HAL_GPIO_WritePin(GPIOA, GPIO_PIN_8|GPIO_PIN_9, GPIO_PIN_RESET);

  /*Configure GPIO pin Output Level */
  HAL_GPIO_WritePin(GPIOB, GPIO_PIN_4|GPIO_PIN_6, GPIO_PIN_RESET);

  /*Configure GPIO pin : B1_Pin */
  GPIO_InitStruct.Pin = B1_Pin;
  GPIO_InitStruct.Mode = GPIO_MODE_IT_FALLING;
  GPIO_InitStruct.Pull = GPIO_NOPULL;
  HAL_GPIO_Init(B1_GPIO_Port, &GPIO_InitStruct);

  /*Configure GPIO pin : PB10 */
  GPIO_InitStruct.Pin = GPIO_PIN_10;
  GPIO_InitStruct.Mode = GPIO_MODE_INPUT;
  GPIO_InitStruct.Pull = GPIO_NOPULL;
  HAL_GPIO_Init(GPIOB, &GPIO_InitStruct);

  /*Configure GPIO pin : PC7 */
  GPIO_InitStruct.Pin = GPIO_PIN_7;
  GPIO_InitStruct.Mode = GPIO_MODE_OUTPUT_PP;
  GPIO_InitStruct.Pull = GPIO_NOPULL;
  GPIO_InitStruct.Speed = GPIO_SPEED_FREQ_HIGH;
  HAL_GPIO_Init(GPIOC, &GPIO_InitStruct);

  /*Configure GPIO pins : PA8 PA9 */
  GPIO_InitStruct.Pin = GPIO_PIN_8|GPIO_PIN_9;
  GPIO_InitStruct.Mode = GPIO_MODE_OUTPUT_PP;
  GPIO_InitStruct.Pull = GPIO_NOPULL;
  GPIO_InitStruct.Speed = GPIO_SPEED_FREQ_HIGH;
  HAL_GPIO_Init(GPIOA, &GPIO_InitStruct);

  /*Configure GPIO pin : PB4 */
  GPIO_InitStruct.Pin = GPIO_PIN_4;
  GPIO_InitStruct.Mode = GPIO_MODE_OUTPUT_PP;
  GPIO_InitStruct.Pull = GPIO_NOPULL;
  GPIO_InitStruct.Speed = GPIO_SPEED_FREQ_LOW;
  HAL_GPIO_Init(GPIOB, &GPIO_InitStruct);

  /*Configure GPIO pin : JOY_BUTTON_Pin */
  GPIO_InitStruct.Pin = JOY_BUTTON_Pin;
  GPIO_InitStruct.Mode = GPIO_MODE_INPUT;
  GPIO_InitStruct.Pull = GPIO_PULLUP;
  HAL_GPIO_Init(JOY_BUTTON_GPIO_Port, &GPIO_InitStruct);

  /*Configure GPIO pin : PB6 */
  GPIO_InitStruct.Pin = GPIO_PIN_6;
  GPIO_InitStruct.Mode = GPIO_MODE_OUTPUT_PP;
  GPIO_InitStruct.Pull = GPIO_NOPULL;
  GPIO_InitStruct.Speed = GPIO_SPEED_FREQ_HIGH;
  HAL_GPIO_Init(GPIOB, &GPIO_InitStruct);

  /* EXTI interrupt init*/
  HAL_NVIC_SetPriority(EXTI15_10_IRQn, 1, 1);
  HAL_NVIC_EnableIRQ(EXTI15_10_IRQn);

}

void Error_Handler(void)
{
  /* USER CODE BEGIN Error_Handler_Debug */
	HAL_GPIO_WritePin(GPIOB, GPIO_PIN_4, GPIO_PIN_SET);
  /* User can add his own implementation to report the HAL error return state */
  __disable_irq();
  while (1)
  {
  }
  /* USER CODE END Error_Handler_Debug */
}
